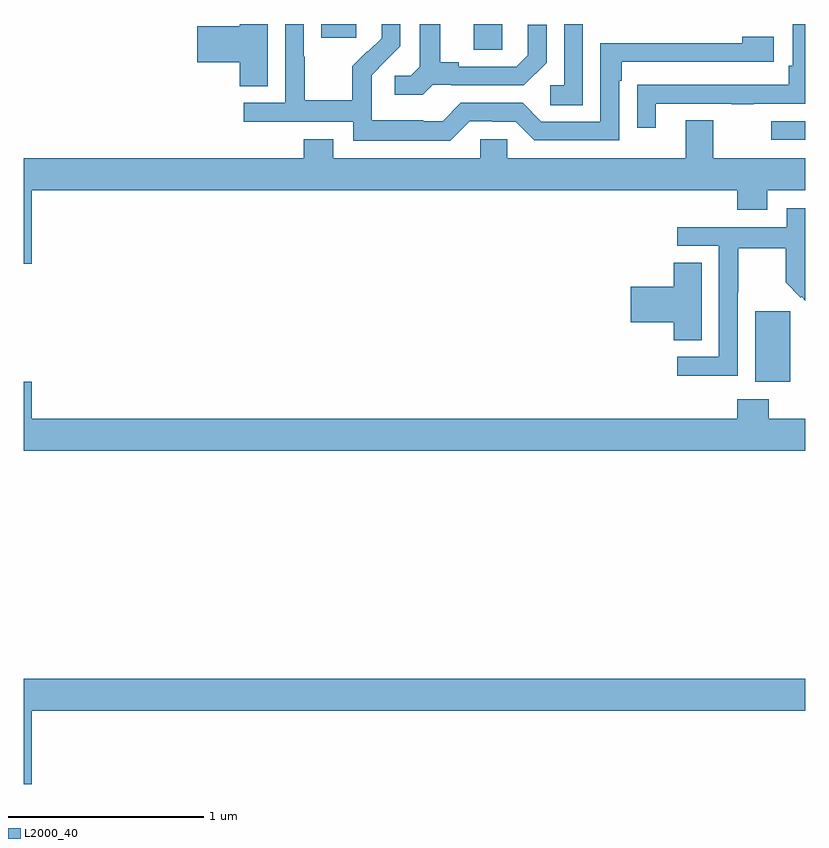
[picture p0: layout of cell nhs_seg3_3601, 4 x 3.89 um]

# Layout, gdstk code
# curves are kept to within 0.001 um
import gdstk
lib = gdstk.Library(unit=1e-6, precision=1e-09)
def R(c, l, rs):  # rectangles x0, y0, x1, y1
    for r in rs: c.add(gdstk.rectangle(r[:2], r[2:], *l))
def P(c, l, *ps):  # polygons
    for p in ps: c.add(gdstk.Polygon(p, *l))
L2000_40 = (2000, 40)

nhs_seg3_3601 = lib.new_cell('nhs_seg3_3601')
R(nhs_seg3_3601, L2000_40, [(300.743,734.57,300.922,734.931), (300.825,735.807,301,735.903), (299.303,736.267,299.448,736.4), (298.523,736.329,298.702,736.4)])
P(nhs_seg3_3601, L2000_40, [(299.094,736.089),(299.188,736.089),(299.188,736.086),(299.56,736.086),(299.676,736.202),(299.676,736.396),(299.579,736.396),(299.579,736.239),(299.522,736.182),(299.227,736.182),(299.227,736.205),(299.131,736.205),(299.131,736.4),(299.027,736.4),(299.027,736.181),(298.98,736.134),(298.899,736.134),(298.899,736.037),(299.042,736.037)],
  [(298.249,736.4),(298.106,736.4),(298.106,736.388),(297.888,736.388),(297.888,736.205),(298.106,736.205),(298.106,736.081),(298.249,736.081)],
  [(299.862,736.4),(299.766,736.4),(299.766,736.086),(299.694,736.086),(299.694,735.985),(299.862,735.985)],
  [(299.283,735.903),(299.399,735.903),(299.399,735.9),(299.517,735.9),(299.613,735.804),(300.048,735.804),(300.048,736.109),(300.061,736.109),(300.061,736.206),(300.838,736.206),(300.838,736.336),(300.677,736.336),(300.677,736.302),(299.952,736.302),(299.952,735.9),(299.649,735.9),(299.553,735.996),(299.238,735.996),(299.145,735.903),(299.045,735.903),(299.045,735.907),(298.782,735.907),(298.782,736.041),(298.78,736.041),(298.78,736.138),(298.926,736.286),(298.926,736.4),(298.832,736.4),(298.832,736.328),(298.761,736.257),(298.758,736.26),(298.681,736.183),(298.681,736.009),(298.437,736.009),(298.437,736.232),(298.434,736.232),(298.434,736.4),(298.338,736.4),(298.338,735.996),(298.125,735.996),(298.125,735.9),(298.686,735.9),(298.686,735.803),(299.183,735.803)],
  [(300.235,735.993),(300.625,735.993),(300.625,735.988),(300.737,735.988),(300.737,735.993),(301,735.993),(301,736.4),(300.936,736.4),(300.936,736.186),(300.916,736.186),(300.916,736.089),(300.241,736.089),(300.241,736.088),(300.139,736.088),(300.139,735.87),(300.235,735.87)],
  [(297.04,735.548),(300.653,735.548),(300.653,735.449),(300.805,735.449),(300.805,735.548),(301,735.548),(301,735.712),(300.529,735.712),(300.529,735.907),(300.389,735.907),(300.389,735.712),(299.475,735.712),(299.475,735.81),(299.337,735.81),(299.337,735.712),(298.585,735.712),(298.585,735.811),(298.433,735.811),(298.433,735.712),(297,735.712),(297,735.174),(297.04,735.174)],
  [(300.654,735.028),(300.657,735.028),(300.657,735.252),(300.901,735.252),(300.901,735.077),(300.978,735),(300.981,735.003),(301,734.984),(301,735.457),(300.906,735.457),(300.906,735.36),(300.345,735.36),(300.345,735.264),(300.558,735.264),(300.558,734.697),(300.345,734.697),(300.345,734.599),(300.654,734.599)],
  [(300.469,735.179),(300.326,735.179),(300.326,735.056),(300.108,735.056),(300.108,734.873),(300.326,734.873),(300.326,734.782),(300.469,734.782)],
  [(301,734.38),(300.813,734.38),(300.813,734.479),(300.653,734.479),(300.653,734.38),(297.04,734.38),(297.04,734.569),(297,734.569),(297,734.216),(301,734.216)],
  [(297.04,732.884),(301,732.884),(301,733.048),(297,733.048),(297,732.51),(297.04,732.51)])

lib.write_gds('nhs_seg3_3601.gds')
